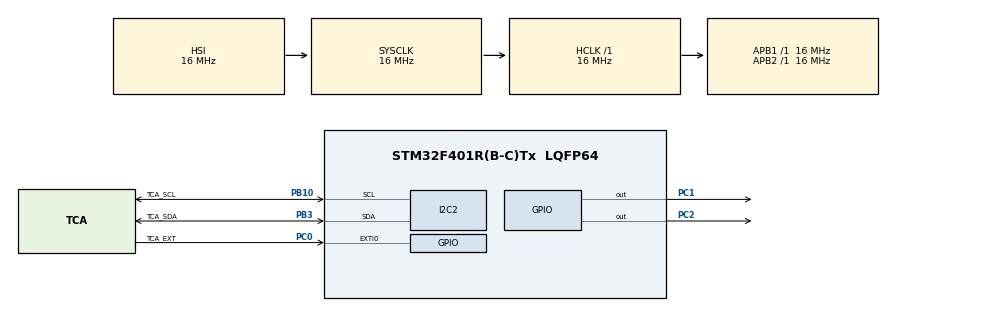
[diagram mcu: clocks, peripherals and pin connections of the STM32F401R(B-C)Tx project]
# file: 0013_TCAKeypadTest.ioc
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Mcu.Family=STM32F4
Mcu.Name=STM32F401R(B-C)Tx
Mcu.Package=LQFP64
NVIC.EXTI0_IRQn=true\:0\:0\:false\:false\:true\:true\:true\:true
NVIC.PriorityGroup=NVIC_PRIORITYGROUP_4
PA13.Mode=Serial_Wire
PA13.Signal=SYS_JTMS-SWDIO
PA14.Mode=Serial_Wire
PA14.Signal=SYS_JTCK-SWCLK
PB10.GPIO_Label=TCA_SCL
PB10.Mode=I2C
PB10.Signal=I2C2_SCL
PB3.GPIO_Label=TCA_SDA
PB3.Mode=I2C
PB3.Signal=I2C2_SDA
PC0.GPIO_Label=TCA_EXT
PC0.GPIO_ModeDefaultEXTI=GPIO_MODE_IT_FALLING
PC0.GPIO_PuPd=GPIO_PULLUP
PC0.Signal=GPXTI0
PC1.GPIO_ModeDefaultOutputPP=GPIO_MODE_OUTPUT_PP
PC1.GPIO_PuPd=GPIO_PULLUP
PC1.Signal=GPIO_Output
PC2.GPIO_PuPd=GPIO_PULLUP
PC2.Signal=GPIO_Output
PH0\ -\ OSC_IN.Mode=HSE-External-Oscillator
PH0\ -\ OSC_IN.Signal=RCC_OSC_IN
PH1\ -\ OSC_OUT.Mode=HSE-External-Oscillator
PH1\ -\ OSC_OUT.Signal=RCC_OSC_OUT
ProjectManager.HeapSize=0x200
ProjectManager.StackSize=0x400
ProjectManager.TargetToolchain=STM32CubeIDE
RCC.AHBFreq_Value=16000000
RCC.APB1Freq_Value=16000000
RCC.APB2Freq_Value=16000000
RCC.CortexFreq_Value=16000000
RCC.HSE_VALUE=25000000
RCC.HSI_VALUE=16000000
RCC.LSE_VALUE=32768
RCC.SYSCLKFreq_VALUE=16000000
RCC.VCOOutputFreq_Value=192000000
board=custom

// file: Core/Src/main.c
/* USER CODE BEGIN Header */
/**
  ******************************************************************************
  * @file           : main.c
  * @brief          : Main program body
  ******************************************************************************
  * @attention
  *
  * Copyright (c) 2023 STMicroelectronics.
  * All rights reserved.
  *
  * This software is licensed under terms that can be found in the LICENSE file
  * in the root directory of this software component.
  * If no LICENSE file comes with this software, it is provided AS-IS.
  *
  ******************************************************************************
  */
/* USER CODE END Header */
#include "main.h"

/* USER CODE BEGIN Includes */

#include "TCA8418RTRW.h"

/* USER CODE END Includes */

 I2C_HandleTypeDef hi2c2;

/* USER CODE BEGIN PV */
uint8_t key_pressed = 0;
uint8_t key_overwrite_pressed = 0;
uint8_t key_value = 0;
uint8_t button_pressed_first = 0;
/* USER CODE END PV */

void SystemClock_Config(void);
static void MX_GPIO_Init(void);
static void MX_I2C2_Init(void);

int main(void)
{

  /* MCU Configuration--------------------------------------------------------*/

  /* Reset of all peripherals, Initializes the Flash interface and the Systick. */
  HAL_Init();

  /* Configure the system clock */
  SystemClock_Config();

  /* Initialize all configured peripherals */
  MX_GPIO_Init();
  MX_I2C2_Init();
  /* USER CODE BEGIN 2 */

	/* KEYPAD IC RESET CLR */
	HAL_GPIO_WritePin(GPIOC, GPIO_PIN_1, GPIO_PIN_SET);
	HAL_Delay(100);
	HAL_GPIO_WritePin(GPIOC, GPIO_PIN_1, GPIO_PIN_RESET);
	HAL_Delay(100);

	HAL_GPIO_WritePin(GPIOC, GPIO_PIN_2, GPIO_PIN_SET);
	HAL_Delay(100);
	HAL_GPIO_WritePin(GPIOC, GPIO_PIN_2, GPIO_PIN_RESET);
	HAL_Delay(100);

  /* *********************************************************************** */
  	/* KEYPAD Initial Routines */
  	/* *********************************************************************** */
  	/* Checks for keypad is ready-to-go */
  	if (HAL_I2C_IsDeviceReady(&hi2c2, TCA8418_ADDR, I2C_TRIAL_TIMES, I2C_TIMEOUT) == HAL_OK)
  	{
  		tca8418_Keypad_init();
  		HAL_Delay(100);

  		tca8418_GetKeyEvent(0);
  		tca8418_GetKeyEvent(1);
  		tca8418_GetKeyEvent(2);
  		tca8418_GetKeyEvent(3);
  		tca8418_GetKeyEvent(4);
  		tca8418_GetKeyEvent(5);
  		tca8418_GetKeyEvent(6);
  		tca8418_GetKeyEvent(7);

  		//Testing purposes
  		//uint8_t value = 0;
  		//value = tca8418_GetInterruptStatus();

  		tca8418_ClearInterruptStatus(INT_STAT_OVR_FLOW_INT |
  		INT_STAT_K_LCK_INT |
  		INT_STAT_GPI_INT |
  		INT_STAT_CAD_INT |
  		INT_STAT_K_INT);
  		HAL_Delay(100);
  	}

  /* USER CODE END 2 */

  /* Infinite loop */
  while (1)
  {

    /* USER CODE BEGIN 3 */

	  if (key_pressed)
	  {
	  	/* Reads the keypad press value */
	  	key_value = tca8418_ReadKeypad();

	  	//print keycode masking the key down/key up bit (bit7)

	  	/* Key pressed */
	  	if (key_value & KEY_EVENT_VALUE)
	  	{
	  		if (button_pressed_first == 0)
	  		{
	  			button_pressed_first = 1;
	  		}
	  		else
	  		{
	  			button_pressed_first = 0;
	  		}

	  		key_value &= KEY_EVENT_CODE;

	  		/* Clears the interrupt status register of keypad */
	  		tca8418_ClearInterruptStatus(INT_STAT_OVR_FLOW_INT |
	  		INT_STAT_K_LCK_INT |
	  		INT_STAT_GPI_INT |
	  		INT_STAT_CAD_INT |
	  		INT_STAT_K_INT);

	  	}
	  }
  }
  /* USER CODE END 3 */
}

void SystemClock_Config(void)
{
  RCC_OscInitTypeDef RCC_OscInitStruct = {0};
  RCC_ClkInitTypeDef RCC_ClkInitStruct = {0};

  /** Configure the main internal regulator output voltage
  */
  __HAL_RCC_PWR_CLK_ENABLE();
  __HAL_PWR_VOLTAGESCALING_CONFIG(PWR_REGULATOR_VOLTAGE_SCALE2);

  /** Initializes the RCC Oscillators according to the specified parameters
  * in the RCC_OscInitTypeDef structure.
  */
  RCC_OscInitStruct.OscillatorType = RCC_OSCILLATORTYPE_HSI;
  RCC_OscInitStruct.HSIState = RCC_HSI_ON;
  RCC_OscInitStruct.HSICalibrationValue = RCC_HSICALIBRATION_DEFAULT;
  RCC_OscInitStruct.PLL.PLLState = RCC_PLL_NONE;
  if (HAL_RCC_OscConfig(&RCC_OscInitStruct) != HAL_OK)
  {
    Error_Handler();
  }

  /** Initializes the CPU, AHB and APB buses clocks
  */
  RCC_ClkInitStruct.ClockType = RCC_CLOCKTYPE_HCLK|RCC_CLOCKTYPE_SYSCLK
                              |RCC_CLOCKTYPE_PCLK1|RCC_CLOCKTYPE_PCLK2;
  RCC_ClkInitStruct.SYSCLKSource = RCC_SYSCLKSOURCE_HSI;
  RCC_ClkInitStruct.AHBCLKDivider = RCC_SYSCLK_DIV1;
  RCC_ClkInitStruct.APB1CLKDivider = RCC_HCLK_DIV1;
  RCC_ClkInitStruct.APB2CLKDivider = RCC_HCLK_DIV1;

  if (HAL_RCC_ClockConfig(&RCC_ClkInitStruct, FLASH_LATENCY_0) != HAL_OK)
  {
    Error_Handler();
  }
}

static void MX_I2C2_Init(void)
{

  hi2c2.Instance = I2C2;
  hi2c2.Init.ClockSpeed = 100000;
  hi2c2.Init.DutyCycle = I2C_DUTYCYCLE_2;
  hi2c2.Init.OwnAddress1 = 0;
  hi2c2.Init.AddressingMode = I2C_ADDRESSINGMODE_7BIT;
  hi2c2.Init.DualAddressMode = I2C_DUALADDRESS_DISABLE;
  hi2c2.Init.OwnAddress2 = 0;
  hi2c2.Init.GeneralCallMode = I2C_GENERALCALL_DISABLE;
  hi2c2.Init.NoStretchMode = I2C_NOSTRETCH_DISABLE;
  if (HAL_I2C_Init(&hi2c2) != HAL_OK)
  {
    Error_Handler();
  }

}

static void MX_GPIO_Init(void)
{
  GPIO_InitTypeDef GPIO_InitStruct = {0};

  /* GPIO Ports Clock Enable */
  __HAL_RCC_GPIOH_CLK_ENABLE();
  __HAL_RCC_GPIOC_CLK_ENABLE();
  __HAL_RCC_GPIOB_CLK_ENABLE();
  __HAL_RCC_GPIOA_CLK_ENABLE();

  /*Configure GPIO pin Output Level */
  HAL_GPIO_WritePin(GPIOC, GPIO_PIN_1|GPIO_PIN_2, GPIO_PIN_RESET);

  /*Configure GPIO pin : TCA_EXT_Pin */
  GPIO_InitStruct.Pin = TCA_EXT_Pin;
  GPIO_InitStruct.Mode = GPIO_MODE_IT_FALLING;
  GPIO_InitStruct.Pull = GPIO_PULLUP;
  HAL_GPIO_Init(TCA_EXT_GPIO_Port, &GPIO_InitStruct);

  /*Configure GPIO pins : PC1 PC2 */
  GPIO_InitStruct.Pin = GPIO_PIN_1|GPIO_PIN_2;
  GPIO_InitStruct.Mode = GPIO_MODE_OUTPUT_PP;
  GPIO_InitStruct.Pull = GPIO_PULLUP;
  GPIO_InitStruct.Speed = GPIO_SPEED_FREQ_LOW;
  HAL_GPIO_Init(GPIOC, &GPIO_InitStruct);

  /* EXTI interrupt init*/
  HAL_NVIC_SetPriority(EXTI0_IRQn, 0, 0);
  HAL_NVIC_EnableIRQ(EXTI0_IRQn);

}

void Error_Handler(void)
{
  __disable_irq();
  while (1)
  {
  }
}
